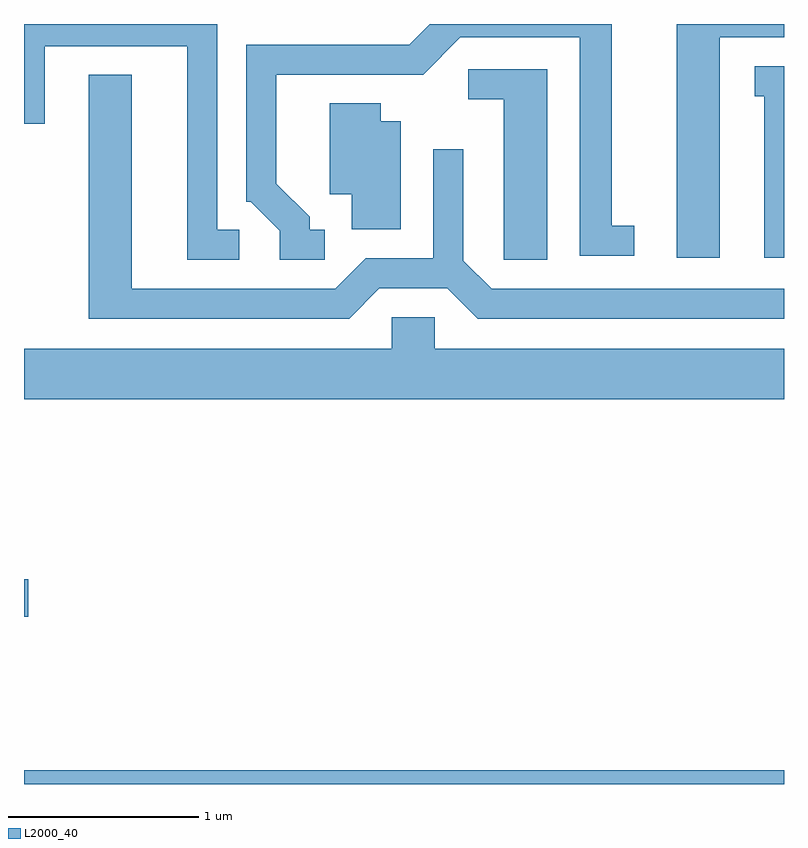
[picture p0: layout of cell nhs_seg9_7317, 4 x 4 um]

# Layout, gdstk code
import gdstk
lib = gdstk.Library(unit=1e-6, precision=1e-09)
def R(c, l, rs):  # rectangles x0, y0, x1, y1
    for r in rs: c.add(gdstk.rectangle(r[:2], r[2:], *l))
def P(c, l, *ps):  # polygons
    for p in ps: c.add(gdstk.Polygon(p, *l))
L2000_40 = (2000, 40)

nhs_seg9_7317 = lib.new_cell('nhs_seg9_7317')
R(nhs_seg9_7317, L2000_40, [(401.611,2016.432,405.611,2016.504), (401.611,2017.311,401.634,2017.509)])
P(nhs_seg9_7317, L2000_40, [(402.743,2019.349),(402.629,2019.349),(402.629,2020.432),(401.611,2020.432),(401.611,2019.906),(401.719,2019.906),(401.719,2020.316),(402.471,2020.316),(402.471,2019.191),(402.743,2019.191)],
  [(403.193,2019.349),(403.114,2019.349),(403.114,2019.417),(402.939,2019.592),(402.939,2020.166),(403.712,2020.166),(403.907,2020.361),(404.536,2020.361),(404.536,2019.211),(404.823,2019.211),(404.823,2019.369),(404.704,2019.369),(404.704,2020.432),(403.747,2020.432),(403.639,2020.324),(402.781,2020.324),(402.781,2019.496),(402.804,2019.496),(402.956,2019.344),(402.956,2019.191),(403.193,2019.191)],
  [(405.274,2020.361),(405.611,2020.361),(405.611,2020.432),(405.046,2020.432),(405.046,2019.201),(405.274,2019.201)],
  [(405.611,2020.209),(405.458,2020.209),(405.458,2020.051),(405.506,2020.051),(405.506,2019.201),(405.611,2019.201)],
  [(404.364,2020.194),(403.948,2020.194),(403.948,2020.036),(404.136,2020.036),(404.136,2019.191),(404.364,2019.191)],
  [(403.482,2019.041),(403.839,2019.041),(403.999,2018.881),(405.611,2018.881),(405.611,2019.039),(404.072,2019.039),(403.924,2019.187),(403.924,2019.773),(403.766,2019.773),(403.766,2019.199),(403.409,2019.199),(403.249,2019.039),(402.179,2019.039),(402.179,2020.164),(401.951,2020.164),(401.951,2018.881),(403.322,2018.881)],
  [(403.594,2019.919),(403.489,2019.919),(403.489,2020.014),(403.221,2020.014),(403.221,2019.536),(403.336,2019.536),(403.336,2019.351),(403.594,2019.351)],
  [(405.611,2018.724),(403.774,2018.724),(403.774,2018.889),(403.546,2018.889),(403.546,2018.724),(401.611,2018.724),(401.611,2018.456),(405.611,2018.456)])

lib.write_gds('nhs_seg9_7317.gds')
